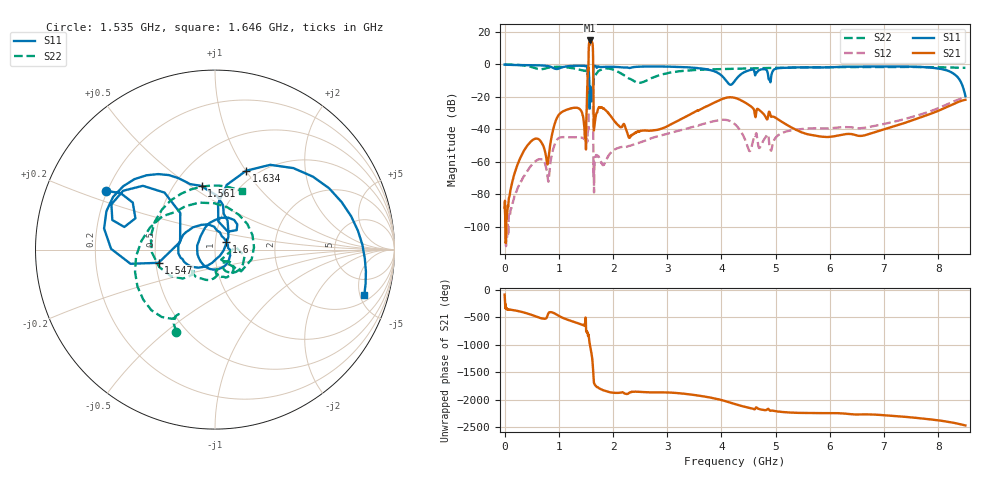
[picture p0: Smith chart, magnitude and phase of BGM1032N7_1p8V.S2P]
!Agilent Technologies,E5071C,MY46105553,A.09.30
!Date: Wed Dec 01 17:49:48 2010
!Data & Calibration Information:
!Freq	S11:SOLT2(ON)	S21:SOLT2(ON)	S12:SOLT2(ON)	S22:SOLT2(ON)
# Hz S dB R 50
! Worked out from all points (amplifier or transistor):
!   1600 points, 300 kHz to 8.5 GHz, reference 50 ohm
!   highest |S21| = 14.8 dB at 1.571 GHz (marker M1)
!   |S21| within 3 dB of that: 1.561 GHz to 1.625 GHz (64.03 MHz wide, 4.02 % of centre) (the widest 1 of 2)
!   unconditionally stable (mu >= 1): 21.86 MHz to end of sweep
!   at 1.466 GHz: K = 684.02, MAG = -27.0 dB, |S12| = -45.7 dB
!   at 3.267 GHz: K = 452.81, MAG = -26.1 dB, |S12| = -40.3 dB
!   at 8.5 GHz: K = 24.31, MAG = -17.5 dB, |S12| = -20.5 dB
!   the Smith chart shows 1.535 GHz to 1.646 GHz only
!   S11 on the Smith chart (normalised r, x): 1.535 GHz: 0.19, +0.24; 1.547 GHz: 0.52, -0.09; 1.561 GHz: 0.68, +0.55; 1.6 GHz: 1.13, +0.10; 1.634 GHz: 0.89, +1.00; 1.646 GHz: 2.66, -5.49
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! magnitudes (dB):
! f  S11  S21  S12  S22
! 300 kHz  -0.1  -88.3  -87.1  0.0
! 468.6 MHz  -0.4  -48.0  -63.3  -1.3
! 679.7 MHz  -0.6  -48.0  -58.5  -2.9
! 805 MHz  -1.0  -59.0  -72.0  -2.0
! 1.002 GHz  -2.5  -31.0  -45.3  -1.4
! 1.419 GHz  -0.7  -29.1  -45.1  -3.5
! 1.501 GHz  -0.9  -52.4  -46.9  -4.0
! 1.535 GHz  -3.2  -3.4  -39.7  -5.9
! 1.547 GHz  -9.8  0.1  -36.3  -7.7
! 1.561 GHz  -8.8  11.7  -24.5  -23.6
! 1.571 GHz  -27.2  14.8  -21.1  -19.3
! 1.6 GHz  -22.3  14.4  -21.4  -17.2
! 1.624 GHz  -15.6  12.3  -22.9  -14.8
! 1.634 GHz  -6.5  -0.3  -35.8  -9.1
! 1.646 GHz  -1.2  -40.2  -70.7  -8.9
! 2.835 GHz  -1.2  -40.2  -44.2  -6.8
! 4.256 GHz  -9.7  -20.6  -37.0  -2.6
! 4.518 GHz  -3.5  -25.2  -53.4  -2.4
! 5.671 GHz  -1.8  -43.5  -39.4  -1.7
! 7.085 GHz  -1.2  -39.0  -36.0  -1.5
! 8.173 GHz  -3.8  -26.0  -24.4  -1.8
! 8.5 GHz  -19.5  -21.8  -20.5  -2.1
